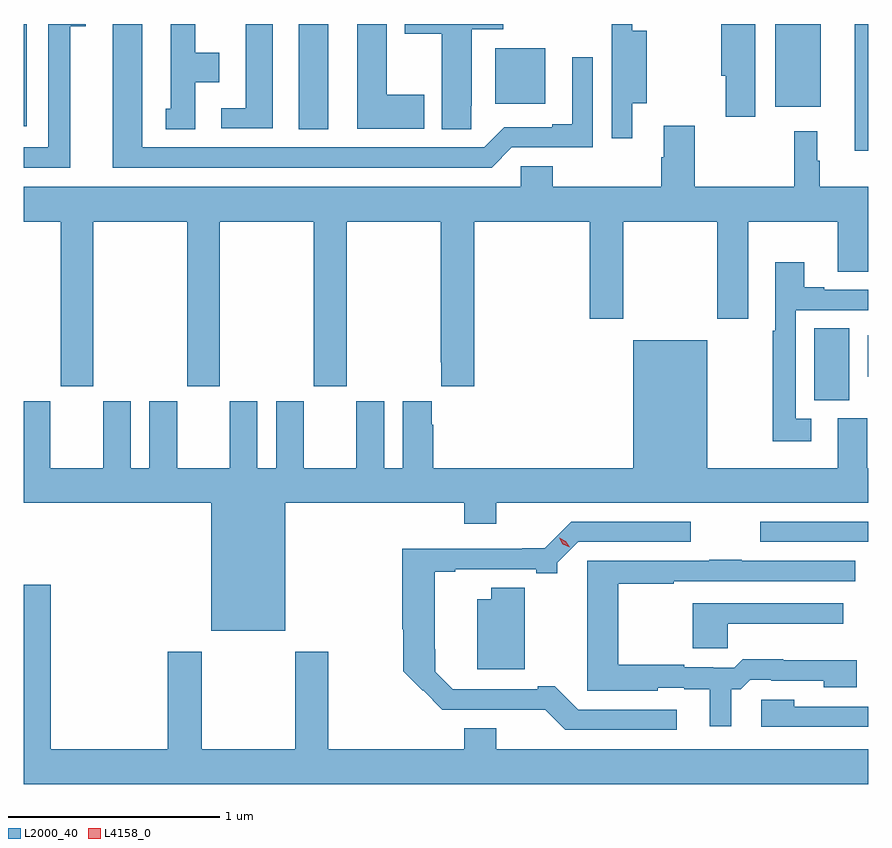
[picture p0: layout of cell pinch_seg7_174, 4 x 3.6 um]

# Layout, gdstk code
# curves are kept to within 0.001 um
import gdstk
lib = gdstk.Library(unit=1e-6, precision=1e-09)
def R(c, l, rs):  # rectangles x0, y0, x1, y1
    for r in rs: c.add(gdstk.rectangle(r[:2], r[2:], *l))
def P(c, l, *ps):  # polygons
    for p in ps: c.add(gdstk.Polygon(p, *l))
L2000_40 = (2000, 40)
L4158_0 = (4158, 0)

pinch_seg7_174 = lib.new_cell('pinch_seg7_174')
R(pinch_seg7_174, L2000_40, [(1132.539,1016.415,1133.051,1016.511), (1132.796,1017.085,1132.96,1017.428), (1133.048,1017.197,1133.051,1017.394), (1132.988,1018.268,1133.051,1018.868), (1130.354,1018.369,1130.494,1018.868), (1129.051,1018.383,1129.066,1018.868), (1132.61,1018.475,1132.825,1018.868), (1131.284,1018.49,1131.52,1018.753)])
P(pinch_seg7_174, L2000_40, [(1131.171,1018.48),(1131.172,1018.48),(1131.172,1018.842),(1131.323,1018.842),(1131.323,1018.868),(1130.855,1018.868),(1130.855,1018.822),(1131.032,1018.822),(1131.032,1018.369),(1131.171,1018.369)],
  [(1129.27,1018.858),(1129.345,1018.858),(1129.345,1018.868),(1129.166,1018.868),(1129.166,1018.284),(1129.051,1018.284),(1129.051,1018.188),(1129.27,1018.188)],
  [(1131.934,1018.493),(1132.002,1018.493),(1132.002,1018.837),(1131.934,1018.837),(1131.934,1018.868),(1131.837,1018.868),(1131.837,1018.326),(1131.934,1018.326)],
  [(1130.23,1018.868),(1130.102,1018.868),(1130.102,1018.47),(1129.986,1018.47),(1129.986,1018.374),(1130.23,1018.374)],
  [(1131.363,1018.284),(1131.747,1018.284),(1131.747,1018.711),(1131.65,1018.711),(1131.65,1018.393),(1131.554,1018.393),(1131.554,1018.38),(1131.327,1018.38),(1131.231,1018.284),(1129.612,1018.284),(1129.612,1018.868),(1129.472,1018.868),(1129.472,1018.188),(1131.267,1018.188)],
  [(1130.947,1018.533),(1130.77,1018.533),(1130.77,1018.868),(1130.63,1018.868),(1130.63,1018.373),(1130.947,1018.373)],
  [(1132.516,1018.868),(1132.355,1018.868),(1132.355,1018.623),(1132.375,1018.623),(1132.375,1018.428),(1132.516,1018.428)],
  [(1129.864,1018.592),(1129.978,1018.592),(1129.978,1018.732),(1129.864,1018.732),(1129.864,1018.868),(1129.748,1018.868),(1129.748,1018.467),(1129.724,1018.467),(1129.724,1018.369),(1129.864,1018.369)],
  [(1129.38,1017.932),(1129.825,1017.932),(1129.825,1017.153),(1129.98,1017.153),(1129.98,1017.932),(1130.425,1017.932),(1130.425,1017.153),(1130.58,1017.153),(1130.58,1017.932),(1131.025,1017.932),(1131.025,1017.265),(1131.029,1017.265),(1131.029,1017.153),(1131.185,1017.153),(1131.185,1017.932),(1131.731,1017.932),(1131.731,1017.471),(1131.891,1017.471),(1131.891,1017.932),(1132.336,1017.932),(1132.336,1017.471),(1132.483,1017.471),(1132.483,1017.932),(1132.907,1017.932),(1132.907,1017.694),(1133.051,1017.694),(1133.051,1018.096),(1132.822,1018.096),(1132.822,1018.22),(1132.81,1018.22),(1132.81,1018.36),(1132.701,1018.36),(1132.701,1018.096),(1132.23,1018.096),(1132.23,1018.387),(1132.082,1018.387),(1132.082,1018.238),(1132.07,1018.238),(1132.07,1018.096),(1131.557,1018.096),(1131.557,1018.194),(1131.405,1018.194),(1131.405,1018.096),(1129.051,1018.096),(1129.051,1017.932),(1129.225,1017.932),(1129.225,1017.153),(1129.38,1017.153)],
  [(1132.78,1016.997),(1132.707,1016.997),(1132.707,1017.513),(1133.051,1017.513),(1133.051,1017.609),(1132.843,1017.609),(1132.843,1017.622),(1132.747,1017.622),(1132.747,1017.739),(1132.611,1017.739),(1132.611,1017.416),(1132.599,1017.416),(1132.599,1016.892),(1132.78,1016.892)],
  [(1130.29,1016.6),(1131.137,1016.6),(1131.137,1016.501),(1131.289,1016.501),(1131.289,1016.6),(1133.051,1016.6),(1133.051,1016.764),(1133.047,1016.764),(1133.047,1017),(1132.907,1017),(1132.907,1016.764),(1132.288,1016.764),(1132.288,1017.37),(1131.938,1017.37),(1131.938,1016.764),(1130.99,1016.764),(1130.99,1016.969),(1130.983,1016.969),(1130.983,1017.082),(1130.846,1017.082),(1130.846,1016.764),(1130.758,1016.764),(1130.758,1017.082),(1130.627,1017.082),(1130.627,1016.764),(1130.377,1016.764),(1130.377,1017.082),(1130.246,1017.082),(1130.246,1016.764),(1130.158,1016.764),(1130.158,1017.082),(1130.027,1017.082),(1130.027,1016.764),(1129.777,1016.764),(1129.777,1017.082),(1129.646,1017.082),(1129.646,1016.764),(1129.558,1016.764),(1129.558,1017.082),(1129.427,1017.082),(1129.427,1016.764),(1129.177,1016.764),(1129.177,1017.082),(1129.051,1017.082),(1129.051,1016.6),(1129.94,1016.6),(1129.94,1015.994),(1130.29,1015.994)],
  [(1132.144,1015.62),(1131.678,1015.62),(1131.566,1015.732),(1131.485,1015.732),(1131.485,1015.716),(1131.084,1015.716),(1131.001,1015.8),(1131.001,1015.906),(1130.998,1015.906),(1130.998,1016.274),(1131.094,1016.274),(1131.094,1016.286),(1131.479,1016.286),(1131.479,1016.266),(1131.579,1016.266),(1131.579,1016.316),(1131.678,1016.415),(1132.21,1016.415),(1132.21,1016.511),(1131.645,1016.511),(1131.518,1016.384),(1131.413,1016.384),(1131.413,1016.382),(1130.843,1016.382),(1130.843,1016),(1130.848,1016),(1130.848,1015.802),(1130.941,1015.709),(1130.943,1015.711),(1131.033,1015.62),(1131.521,1015.619),(1131.615,1015.524),(1132.144,1015.524)],
  [(1132.402,1015.718),(1132.448,1015.718),(1132.491,1015.761),(1132.591,1015.761),(1132.591,1015.758),(1132.84,1015.758),(1132.84,1015.727),(1132.996,1015.727),(1132.996,1015.855),(1132.649,1015.855),(1132.649,1015.858),(1132.456,1015.858),(1132.416,1015.818),(1132.316,1015.818),(1132.316,1015.821),(1132.179,1015.821),(1132.179,1015.834),(1131.867,1015.834),(1131.867,1016.217),(1132.13,1016.217),(1132.13,1016.229),(1132.99,1016.229),(1132.99,1016.325),(1132.451,1016.325),(1132.451,1016.33),(1132.297,1016.33),(1132.297,1016.325),(1131.719,1016.325),(1131.719,1015.709),(1132.053,1015.709),(1132.053,1015.725),(1132.179,1015.725),(1132.179,1015.718),(1132.301,1015.718),(1132.301,1015.542),(1132.402,1015.542)],
  [(1133.051,1015.432),(1131.289,1015.432),(1131.289,1015.531),(1131.137,1015.531),(1131.137,1015.432),(1130.493,1015.432),(1130.493,1015.894),(1130.338,1015.894),(1130.338,1015.432),(1129.893,1015.432),(1129.893,1015.894),(1129.733,1015.894),(1129.733,1015.432),(1129.178,1015.432),(1129.178,1016.212),(1129.051,1016.212),(1129.051,1015.268),(1133.051,1015.268)],
  [(1131.424,1016.197),(1131.266,1016.197),(1131.266,1016.143),(1131.2,1016.143),(1131.2,1015.811),(1131.424,1015.811)],
  [(1132.385,1016.027),(1132.933,1016.027),(1132.933,1016.124),(1132.219,1016.124),(1132.219,1015.911),(1132.385,1015.911)],
  [(1133.051,1015.635),(1132.701,1015.635),(1132.701,1015.666),(1132.545,1015.666),(1132.545,1015.539),(1133.051,1015.539)])
P(pinch_seg7_174, L4158_0, [(1131.636,1016.389),(1131.605,1016.404),(1131.587,1016.434),(1131.587,1016.434),(1131.587,1016.434),(1131.618,1016.419),(1131.637,1016.389),(1131.637,1016.389)])

lib.write_gds('pinch_seg7_174.gds')
